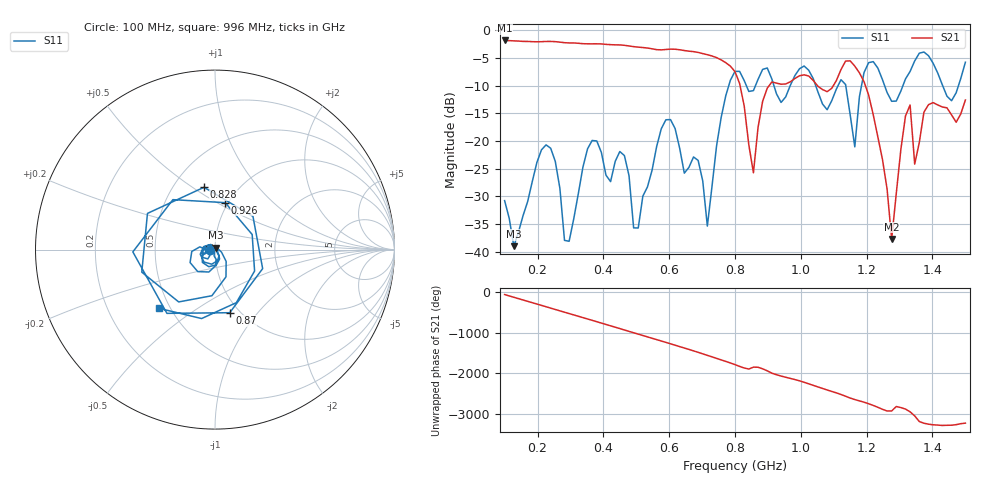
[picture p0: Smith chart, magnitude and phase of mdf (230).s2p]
! NanoVNA-App
! Date: 2025-09-25 15:40:13
! Start: 100MHz Stop: 1,5GHz Points: 101
! S-Parameter data: F S11 S21 S12 S22
# Hz S RI R 50
!  Frequency  S11_Real  S11_Imag  S21_Real  S21_Imag  S12_Real  S12_Imag  S22_Real  S22_Imag
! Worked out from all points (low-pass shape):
!   101 points, 100 MHz to 1.5 GHz, reference 50 ohm
!   highest |S21| = -1.80 dB at 100 MHz (marker M1); lowest = -37.7 dB at 1.276 GHz (marker M2)
!   |S21| within 3 dB of the highest: start of sweep to 739.3 MHz
!   lowest |S11| = -39.0 dB at 128 MHz (marker M3), VSWR 1.02, Z = 50.3 + j1.07 ohm
!   |S11| at or under -10 dB: start of sweep to 781 MHz; 1.045 GHz to 1.113 GHz (67.51 MHz wide, 6.26 % of centre); 1.255 GHz to 1.31 GHz (55.36 MHz wide, 4.32 % of centre) (the widest 3 of 7)
!   S12 and S22 are empty: the file has one direction only
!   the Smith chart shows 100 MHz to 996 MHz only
!   S11 on the Smith chart (normalised r, x): 100 MHz: 0.94, -0.01; 828 MHz: 0.70, +0.56; 870 MHz: 0.90, -0.73; 926 MHz: 0.97, +0.55; 996 MHz: 0.44, -0.36
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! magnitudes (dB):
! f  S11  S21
! 100 MHz  -30.8  -1.8
! 128 MHz  -39.0  -1.9
! 212 MHz  -21.6  -2.0
! 282 MHz  -38.0  -2.2
! 338 MHz  -24.7  -2.4
! 464 MHz  -22.6  -2.7
! 506 MHz  -35.7  -3.0
! 576 MHz  -17.8  -3.5
! 716 MHz  -35.4  -4.4
! 800 MHz  -7.4  -7.4
! 828 MHz  -9.1  -13.7
! 856 MHz  -10.9  -25.7
! 870 MHz  -8.8  -17.5
! 926 MHz  -11.4  -9.5
! 996 MHz  -6.9  -8.2
! 1.038 GHz  -8.7  -9.1
! 1.164 GHz  -21.0  -6.4
! 1.192 GHz  -7.6  -9.3
! 1.276 GHz  -12.8  -37.7
! 1.332 GHz  -7.4  -13.5
! 1.346 GHz  -5.5  -24.2
! 1.5 GHz  -5.7  -12.6
